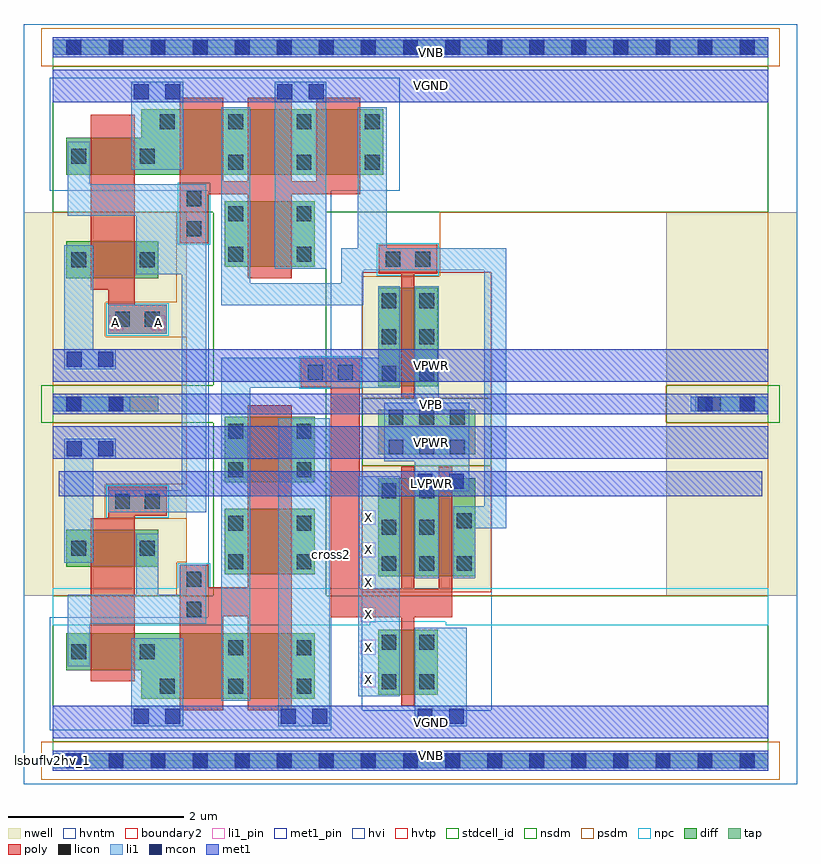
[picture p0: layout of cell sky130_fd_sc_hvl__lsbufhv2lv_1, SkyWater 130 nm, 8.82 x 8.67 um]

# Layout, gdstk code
import gdstk
lib = gdstk.Library(unit=1e-6, precision=1e-09)
def R(c, l, rs):  # rectangles x0, y0, x1, y1
    for r in rs: c.add(gdstk.rectangle(r[:2], r[2:], *l))
def A(c, l, x, y, w, h, nx, ny, dx, dy):  # array of equal rectangles
    R(c, l, [(x+i*dx, y+j*dy, x+i*dx+w, y+j*dy+h) for i in range(nx) for j in range(ny)])
def P(c, l, *ps):  # polygons
    for p in ps: c.add(gdstk.Polygon(p, *l))
nwell = (64, 20)
diff = (65, 20)
tap = (65, 44)
poly = (66, 20)
licon = (66, 44)
li1_pin = (67, 16)
li1 = (67, 20)
mcon = (67, 44)
met1_pin = (68, 16)
met1 = (68, 20)
hvi = (75, 20)
hvtp = (78, 44)
stdcell_id = (81, 4)
nsdm = (93, 44)
psdm = (94, 20)
npc = (95, 20)
hvntm = (125, 20)
boundary2 = (236, 0)

sky130_fd_sc_hvl__lsbufh = lib.new_cell('sky130_fd_sc_hvl__lsbufhv2lv_1')
R(sky130_fd_sc_hvl__lsbufh, nwell, [(-0.33,1.885,1.53,6.255), (7,1.885,8.49,6.255), (3.53,1.925,5,5.575)])
R(sky130_fd_sc_hvl__lsbufh, diff, [(1.96,0.705,2.99,1.455), (3.71,0.755,4.39,1.495), (3.71,2.105,4.82,3.225), (1.96,2.125,2.99,2.875), (0.15,2.215,1.2,2.635), (1.96,3.175,2.99,3.925), (3.71,4.275,4.39,5.395), (0.15,5.505,1.2,5.925), (1.96,5.635,2.99,6.385), (1.96,6.685,2.99,7.435), (2.74,6.685,3.77,7.435)])
P(sky130_fd_sc_hvl__lsbufh, diff, [(0.15,6.685),(0.15,7.105),(1.01,7.105),(1.01,7.435),(2.04,7.435),(2.04,6.685)],
  [(1.01,0.705),(1.01,1.035),(0.15,1.035),(0.15,1.455),(2.04,1.455),(2.04,0.705)])
R(sky130_fd_sc_hvl__lsbufh, tap, [(0,-0.085,8.16,0.085), (3.71,3.495,4.82,4.005), (0,3.985,1.2,4.155), (7.33,3.985,8.16,4.155), (0,8.055,8.16,8.225)])
R(sky130_fd_sc_hvl__lsbufh, poly, [(3.975,0.625,4.125,3.355), (4.405,1.965,4.555,3.355), (0.63,2.795,1.3,3.125), (2.225,3.045,2.725,4.055), (3.975,4.145,4.125,5.555), (2.83,4.265,3.5,4.595), (0.63,4.87,1.3,5.2), (0.63,5.2,0.935,5.375), (0.435,5.375,0.935,6.085), (3.715,5.555,4.385,5.885), (0.435,5.97,0.935,7.37)])
P(sky130_fd_sc_hvl__lsbufh, poly, [(1.445,0.575),(1.445,2.235),(1.775,2.235),(1.775,1.98),(2.225,1.98),(2.225,3.045),(2.725,3.045),(2.725,0.575),(2.225,0.575),(2.225,1.65),(1.945,1.65),(1.945,0.575)],
  [(3.17,1.635),(3.17,4.265),(3.5,4.265),(3.5,1.965),(4.555,1.965),(4.555,1.635)],
  [(0.435,0.905),(0.435,2.765),(0.63,2.765),(0.63,2.795),(0.935,2.795),(0.935,0.905)],
  [(2.225,5.505),(2.225,6.46),(1.775,6.46),(1.775,5.905),(1.445,5.905),(1.445,7.565),(1.945,7.565),(1.945,6.61),(2.225,6.61),(2.225,7.565),(2.725,7.565),(2.725,6.61),(3.005,6.61),(3.005,7.565),(3.505,7.565),(3.505,6.46),(2.725,6.46),(2.725,5.505)])
A(sky130_fd_sc_hvl__lsbufh, licon, 0.155, -0.085, 0.17, 0.17, 17, 2, 0.48, 8.14)
A(sky130_fd_sc_hvl__lsbufh, licon, 1.22, 0.765, 0.17, 0.17, 3, 1, 0.78, 0)
A(sky130_fd_sc_hvl__lsbufh, licon, 3.75, 2.165, 0.17, 0.17, 3, 1, 0.43, 0)
A(sky130_fd_sc_hvl__lsbufh, licon, 3.83, 3.495, 0.17, 0.17, 3, 2, 0.35, 0.34)
A(sky130_fd_sc_hvl__lsbufh, licon, 3.75, 4.335, 0.17, 0.17, 1, 3, 0, 0.415)
A(sky130_fd_sc_hvl__lsbufh, licon, 4.18, 4.335, 0.17, 0.17, 1, 3, 0, 0.415)
A(sky130_fd_sc_hvl__lsbufh, licon, 2, 6.745, 0.17, 0.17, 3, 1, 0.78, 0)
A(sky130_fd_sc_hvl__lsbufh, licon, 1.22, 7.205, 0.17, 0.17, 4, 1, 0.78, 0)
R(sky130_fd_sc_hvl__lsbufh, licon, [(3.75,0.815,3.92,0.985), (4.18,0.815,4.35,0.985), (0.21,1.16,0.38,1.33), (0.99,1.16,1.16,1.33), (2,1.205,2.17,1.375), (2.78,1.205,2.95,1.375), (3.75,1.265,3.92,1.435), (4.18,1.265,4.35,1.435), (1.525,1.645,1.695,1.815), (1.525,1.985,1.695,2.155), (2,2.185,2.17,2.355), (2.78,2.185,2.95,2.355), (0.21,2.34,0.38,2.51), (0.99,2.34,1.16,2.51), (3.75,2.58,3.92,2.75), (4.18,2.58,4.35,2.75), (2,2.625,2.17,2.795), (2.78,2.625,2.95,2.795), (4.61,2.655,4.78,2.825), (0.71,2.875,0.88,3.045), (1.05,2.875,1.22,3.045), (3.75,2.995,3.92,3.165), (4.18,2.995,4.35,3.165), (2,3.235,2.17,3.405), (2.78,3.235,2.95,3.405), (2,3.675,2.17,3.845), (2.78,3.675,2.95,3.845), (0.155,3.985,0.325,4.155), (0.635,3.985,0.805,4.155), (7.45,3.985,7.62,4.155), (7.835,3.985,8.005,4.155), (2.91,4.345,3.08,4.515), (3.25,4.345,3.42,4.515), (0.71,4.95,0.88,5.12), (1.05,4.95,1.22,5.12), (0.21,5.63,0.38,5.8), (0.99,5.63,1.16,5.8), (3.795,5.635,3.965,5.805), (4.135,5.635,4.305,5.805), (2,5.695,2.17,5.865), (2.78,5.695,2.95,5.865), (1.525,5.985,1.695,6.155), (2,6.155,2.17,6.325), (2.78,6.155,2.95,6.325), (1.525,6.325,1.695,6.495), (0.21,6.81,0.38,6.98), (0.99,6.81,1.16,6.98)])
A(sky130_fd_sc_hvl__lsbufh, li1_pin, 3.515, 0.84, 0.17, 0.17, 1, 6, 0, 0.37)
R(sky130_fd_sc_hvl__lsbufh, li1_pin, [(0.635,4.91,0.805,5.08), (1.115,4.91,1.285,5.08)])
R(sky130_fd_sc_hvl__lsbufh, li1, [(0,-0.085,8.16,0.085), (0.895,0.395,1.485,1.395), (2.57,0.395,3.16,3.91), (4.13,0.395,4.72,1.515), (3.485,0.735,3.96,3.245), (0,3.985,0.885,4.155), (7.275,3.985,8.16,4.155), (4.13,4.015,4.4,5.415), (0.63,4.87,1.3,5.2), (2.53,5.615,3.12,7.745), (0.895,6.745,1.485,7.745), (0,8.055,8.16,8.225)])
P(sky130_fd_sc_hvl__lsbufh, li1, [(1.92,0.685),(1.92,4.595),(3.71,4.595),(3.71,5.415),(3.96,5.415),(3.96,4.255),(2.25,4.255),(2.25,0.685)],
  [(4.57,2.085),(4.57,2.905),(4.92,2.905),(4.92,5.595),(3.54,5.595),(3.54,5.195),(1.92,5.195),(1.92,7.455),(2.25,7.455),(2.25,5.445),(3.29,5.445),(3.29,5.845),(3.48,5.845),(3.48,7.455),(3.81,7.455),(3.81,5.845),(5.17,5.845),(5.17,2.655),(4.82,2.655),(4.82,2.085)],
  [(0.63,2.835),(0.63,3.085),(1.47,3.085),(1.47,5.55),(0.95,5.55),(0.95,6.22),(0.17,6.22),(0.17,7.06),(0.42,7.06),(0.42,6.575),(1.75,6.575),(1.75,2.835)],
  [(4.13,2.085),(4.13,3.415),(3.78,3.415),(3.78,4.085),(4.75,4.085),(4.75,3.075),(4.4,3.075),(4.4,2.085)],
  [(0.17,1.08),(0.17,1.895),(0.95,1.895),(0.95,2.59),(1.2,2.59),(1.2,1.895),(1.445,1.895),(1.445,2.235),(1.75,2.235),(1.75,1.565),(0.42,1.565),(0.42,1.08)],
  [(0.13,4.465),(0.13,5.88),(0.46,5.88),(0.46,4.695),(0.72,4.695),(0.72,4.465)],
  [(0.13,2.26),(0.13,3.675),(0.72,3.675),(0.72,3.445),(0.46,3.445),(0.46,2.26)])
A(sky130_fd_sc_hvl__lsbufh, mcon, 0.155, -0.085, 0.17, 0.17, 17, 2, 0.48, 8.14)
R(sky130_fd_sc_hvl__lsbufh, mcon, [(0.925,0.425,1.095,0.595), (1.285,0.425,1.455,0.595), (2.6,0.425,2.77,0.595), (2.96,0.425,3.13,0.595), (4.16,0.425,4.33,0.595), (4.52,0.425,4.69,0.595), (4.16,3.105,4.33,3.275), (4.52,3.105,4.69,3.275), (0.16,3.475,0.33,3.645), (0.52,3.475,0.69,3.645), (0.155,3.985,0.325,4.155), (0.635,3.985,0.805,4.155), (7.355,3.985,7.525,4.155), (7.835,3.985,8.005,4.155), (0.16,4.495,0.33,4.665), (0.52,4.495,0.69,4.665), (0.925,7.545,1.095,7.715), (1.285,7.545,1.455,7.715), (2.56,7.545,2.73,7.715), (2.92,7.545,3.09,7.715)])
R(sky130_fd_sc_hvl__lsbufh, met1_pin, [(0,0,8.16,0.115), (0,0.255,8.16,0.625), (0.07,3.02,8.09,3.305), (0,3.445,8.16,3.815), (0,3.955,8.16,4.185), (0,4.325,8.16,4.695), (0,7.515,8.16,7.885), (0,8.025,8.16,8.14)])
A(sky130_fd_sc_hvl__lsbufh, met1, 0, -0.115, 8.16, 0.23, 1, 3, 0, 4.07)
R(sky130_fd_sc_hvl__lsbufh, met1, [(0,0.255,8.16,0.625), (0.07,3.02,8.09,3.305), (0,3.445,8.16,3.815), (0,4.325,8.16,4.695), (0,7.515,8.16,7.885)])
P(sky130_fd_sc_hvl__lsbufh, hvi, [(-0.33,-0.265),(-0.33,8.405),(5,8.405),(5,5.575),(3.53,5.575),(3.53,0.575),(5,0.575),(5,8.405),(8.49,8.405),(8.49,-0.265)])
R(sky130_fd_sc_hvl__lsbufh, hvtp, [(3.53,1.925,5,5.575)])
R(sky130_fd_sc_hvl__lsbufh, stdcell_id, [(0,0,8.16,8.14)])
R(sky130_fd_sc_hvl__lsbufh, nsdm, [(3.53,3.365,5,4.135), (7,3.855,8.29,4.285)])
P(sky130_fd_sc_hvl__lsbufh, nsdm, [(0,0.215),(0,1.885),(1.83,1.885),(1.83,3.855),(-0.13,3.855),(-0.13,4.285),(1.83,4.285),(1.83,6.255),(0,6.255),(0,7.925),(8.16,7.925),(8.16,6.255),(3.12,6.255),(3.12,1.885),(8.16,1.885),(8.16,0.215)])
R(sky130_fd_sc_hvl__lsbufh, psdm, [(-0.13,-0.215,8.29,0.215), (-0.13,7.925,8.29,8.355)])
P(sky130_fd_sc_hvl__lsbufh, psdm, [(0,4.285),(0,6.255),(1.415,6.255),(1.415,5.23),(0.6,5.23),(0.6,4.84),(1.53,4.84),(1.53,4.285)],
  [(0,1.885),(0,3.855),(1.53,3.855),(1.53,3.155),(0.6,3.155),(0.6,2.765),(1.53,2.765),(1.53,2.265),(1.415,2.265),(1.415,1.885)],
  [(3.53,1.885),(3.53,3.365),(5,3.365),(5,4.135),(3.53,4.135),(3.53,5.525),(4.415,5.525),(4.415,6.255),(8.16,6.255),(8.16,4.285),(7,4.285),(7,3.855),(8.16,3.855),(8.16,1.885)])
R(sky130_fd_sc_hvl__lsbufh, npc, [(0.61,2.775,1.32,3.145), (2.81,4.245,3.52,4.615), (0.61,4.85,1.32,5.22), (3.695,5.535,4.405,5.905), (1.425,5.885,1.795,6.595)])
P(sky130_fd_sc_hvl__lsbufh, npc, [(0,1.545),(0,1.97),(1.425,1.97),(1.425,2.255),(1.795,2.255),(1.795,1.97),(8.16,1.97),(8.16,1.545),(4.48,1.545),(4.48,1.585),(3.62,1.585),(3.62,1.545)])
P(sky130_fd_sc_hvl__lsbufh, hvntm, [(-0.035,0.35),(-0.035,1.64),(1.775,1.64),(1.775,6.5),(-0.035,6.5),(-0.035,7.79),(3.955,7.79),(3.955,6.5),(3.175,6.5),(3.175,0.35)])
R(sky130_fd_sc_hvl__lsbufh, boundary2, [(0,0,8.16,8.14)])
sky130_fd_sc_hvl__lsbufh.add(gdstk.Label('lsbuflv2hv_1', (0,0), layer=83, texttype=44))
sky130_fd_sc_hvl__lsbufh.add(gdstk.Label('cross2', (3.18,2.35), layer=83, texttype=44))
sky130_fd_sc_hvl__lsbufh.add(gdstk.Label('VPWR', (4.32,3.63), layer=68, texttype=5))
sky130_fd_sc_hvl__lsbufh.add(gdstk.Label('VPWR', (4.32,4.51), layer=68, texttype=5))
sky130_fd_sc_hvl__lsbufh.add(gdstk.Label('VGND', (4.32,7.7), layer=68, texttype=5))
sky130_fd_sc_hvl__lsbufh.add(gdstk.Label('VGND', (4.32,0.44), layer=68, texttype=5))
sky130_fd_sc_hvl__lsbufh.add(gdstk.Label('VNB', (4.32,0.058), layer=68, texttype=5))
sky130_fd_sc_hvl__lsbufh.add(gdstk.Label('LVPWR', (4.32,3.165), layer=68, texttype=5))
sky130_fd_sc_hvl__lsbufh.add(gdstk.Label('VPB', (4.32,4.068), layer=68, texttype=5))
sky130_fd_sc_hvl__lsbufh.add(gdstk.Label('VNB', (4.32,8.082), layer=68, texttype=5))
sky130_fd_sc_hvl__lsbufh.add(gdstk.Label('VPWR', (4.32,3.63), layer=68, texttype=16))
sky130_fd_sc_hvl__lsbufh.add(gdstk.Label('VPWR', (4.32,4.51), layer=68, texttype=16))
sky130_fd_sc_hvl__lsbufh.add(gdstk.Label('VGND', (4.32,7.7), layer=68, texttype=16))
sky130_fd_sc_hvl__lsbufh.add(gdstk.Label('VGND', (4.32,0.44), layer=68, texttype=16))
sky130_fd_sc_hvl__lsbufh.add(gdstk.Label('VNB', (4.32,0.058), layer=68, texttype=16))
sky130_fd_sc_hvl__lsbufh.add(gdstk.Label('LVPWR', (4.32,3.165), layer=68, texttype=16))
sky130_fd_sc_hvl__lsbufh.add(gdstk.Label('VPB', (4.32,4.068), layer=68, texttype=16))
sky130_fd_sc_hvl__lsbufh.add(gdstk.Label('VNB', (4.32,8.082), layer=68, texttype=16))
sky130_fd_sc_hvl__lsbufh.add(gdstk.Label('X', (3.6,1.665), layer=67, texttype=16))
sky130_fd_sc_hvl__lsbufh.add(gdstk.Label('X', (3.6,0.925), layer=67, texttype=16))
sky130_fd_sc_hvl__lsbufh.add(gdstk.Label('X', (3.6,1.295), layer=67, texttype=16))
sky130_fd_sc_hvl__lsbufh.add(gdstk.Label('X', (3.6,2.775), layer=67, texttype=16))
sky130_fd_sc_hvl__lsbufh.add(gdstk.Label('X', (3.6,2.405), layer=67, texttype=16))
sky130_fd_sc_hvl__lsbufh.add(gdstk.Label('X', (3.6,2.035), layer=67, texttype=16))
sky130_fd_sc_hvl__lsbufh.add(gdstk.Label('A', (0.72,4.995), layer=67, texttype=16))
sky130_fd_sc_hvl__lsbufh.add(gdstk.Label('A', (1.2,4.995), layer=67, texttype=16))
sky130_fd_sc_hvl__lsbufh.add(gdstk.Label('X', (3.6,1.665), layer=67, texttype=5))
sky130_fd_sc_hvl__lsbufh.add(gdstk.Label('X', (3.6,0.925), layer=67, texttype=5))
sky130_fd_sc_hvl__lsbufh.add(gdstk.Label('X', (3.6,1.295), layer=67, texttype=5))
sky130_fd_sc_hvl__lsbufh.add(gdstk.Label('X', (3.6,2.775), layer=67, texttype=5))
sky130_fd_sc_hvl__lsbufh.add(gdstk.Label('X', (3.6,2.405), layer=67, texttype=5))
sky130_fd_sc_hvl__lsbufh.add(gdstk.Label('X', (3.6,2.035), layer=67, texttype=5))
sky130_fd_sc_hvl__lsbufh.add(gdstk.Label('A', (0.72,4.995), layer=67, texttype=5))
sky130_fd_sc_hvl__lsbufh.add(gdstk.Label('A', (1.2,4.995), layer=67, texttype=5))

lib.write_gds('sky130_fd_sc_hvl__lsbufhv2lv_1.gds')
